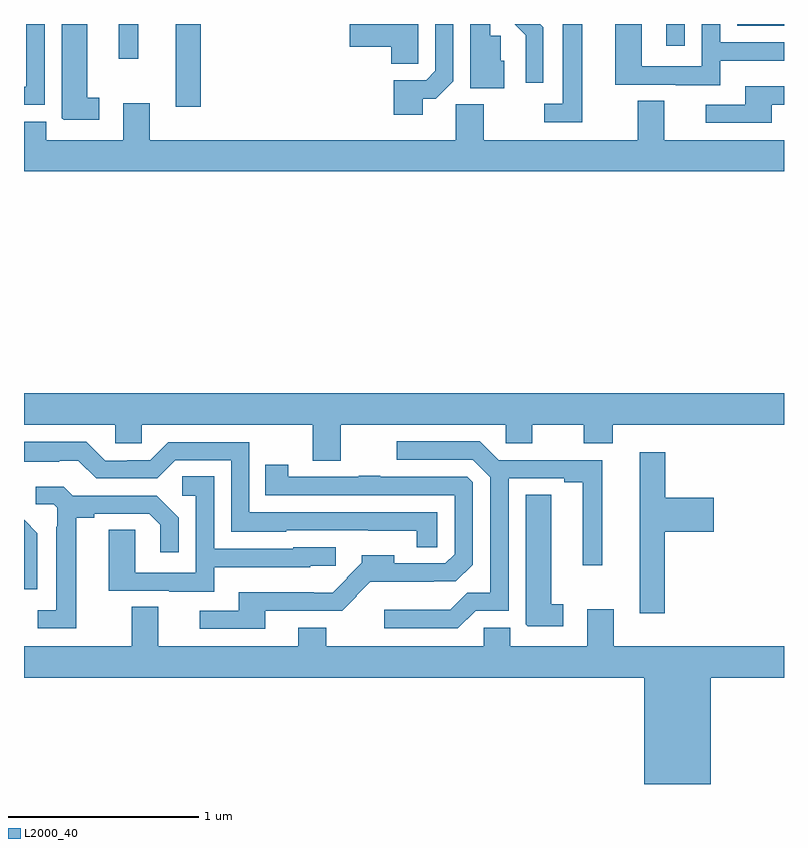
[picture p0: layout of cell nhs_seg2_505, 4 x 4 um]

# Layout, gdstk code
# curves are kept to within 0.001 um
import gdstk
lib = gdstk.Library(unit=1e-6, precision=1e-09)
def R(c, l, rs):  # rectangles x0, y0, x1, y1
    for r in rs: c.add(gdstk.rectangle(r[:2], r[2:], *l))
def P(c, l, *ps):  # polygons
    for p in ps: c.add(gdstk.Polygon(p, *l))
L2000_40 = (2000, 40)

nhs_seg2_505 = lib.new_cell('nhs_seg2_505')
R(nhs_seg2_505, L2000_40, [(137.798,593.364,137.93,593.8), (137.498,593.616,137.602,593.8), (140.381,593.685,140.478,593.8), (140.754,593.792,141,593.8)])
P(nhs_seg2_505, L2000_40, [(137.109,593.8),(137.013,593.8),(137.013,593.471),(137,593.471),(137,593.376),(137.109,593.376)],
  [(140.665,593.606),(141,593.606),(141,593.703),(140.664,593.703),(140.664,593.8),(140.568,593.8),(140.568,593.577),(140.25,593.577),(140.25,593.8),(140.111,593.8),(140.111,593.481),(140.429,593.481),(140.429,593.477),(140.665,593.477)],
  [(139.939,593.8),(139.835,593.8),(139.835,593.379),(139.737,593.379),(139.737,593.283),(139.939,593.283)],
  [(139.074,593.698),(139.075,593.698),(139.075,593.8),(138.714,593.8),(138.714,593.681),(138.932,593.681),(138.932,593.59),(139.074,593.59)],
  [(139.528,593.607),(139.509,593.607),(139.509,593.739),(139.453,593.739),(139.453,593.8),(139.349,593.8),(139.349,593.462),(139.528,593.462)],
  [(137.395,593.411),(137.332,593.411),(137.332,593.8),(137.198,593.8),(137.198,593.305),(137.208,593.295),(137.395,593.295)],
  [(139.099,593.407),(139.167,593.407),(139.26,593.499),(139.26,593.8),(139.164,593.8),(139.164,593.553),(139.116,593.505),(138.947,593.505),(138.947,593.322),(139.099,593.322)],
  [(139.734,593.784),(139.718,593.8),(139.582,593.8),(139.64,593.742),(139.64,593.49),(139.734,593.49)],
  [(140.935,593.376),(141,593.376),(141,593.473),(140.795,593.473),(140.795,593.376),(140.589,593.376),(140.589,593.28),(140.935,593.28)],
  [(141,593.188),(140.371,593.188),(140.371,593.396),(140.231,593.396),(140.231,593.188),(139.419,593.188),(139.419,593.377),(139.272,593.377),(139.272,593.188),(137.662,593.188),(137.662,593.383),(137.522,593.383),(137.522,593.188),(137.116,593.188),(137.116,593.286),(137,593.286),(137,593.024),(141,593.024)],
  [(138.667,591.692),(139.536,591.692),(139.536,591.594),(139.675,591.594),(139.675,591.692),(139.946,591.692),(139.946,591.593),(140.099,591.593),(140.099,591.692),(141,591.692),(141,591.856),(137,591.856),(137,591.692),(137.481,591.692),(137.481,591.594),(137.619,591.594),(137.619,591.692),(138.52,591.692),(138.52,591.502),(138.667,591.502)],
  [(139.377,590.712),(139.551,590.712),(139.551,591.408),(139.844,591.408),(139.844,591.388),(139.94,591.388),(139.94,590.952),(140.044,590.952),(140.044,591.504),(139.498,591.504),(139.399,591.603),(138.963,591.603),(138.963,591.507),(139.362,591.507),(139.455,591.414),(139.455,590.807),(139.334,590.807),(139.243,590.716),(138.897,590.716),(138.897,590.619),(139.284,590.619)],
  [(139.176,591.231),(138.186,591.231),(138.186,591.6),(137.76,591.6),(137.664,591.504),(137.544,591.504),(137.544,591.501),(137.427,591.501),(137.327,591.601),(137,591.601),(137,591.497),(137.186,591.497),(137.186,591.501),(137.286,591.501),(137.379,591.408),(137.7,591.408),(137.796,591.504),(138.09,591.504),(138.09,591.128),(138.381,591.128),(138.381,591.135),(139.068,591.134),(139.068,591.046),(139.176,591.046)],
  [(140.372,591.128),(140.629,591.128),(140.629,591.306),(140.375,591.306),(140.375,591.547),(140.24,591.547),(140.24,590.7),(140.372,590.7)],
  [(138.271,590.712),(138.675,590.712),(138.751,590.789),(138.749,590.791),(138.823,590.865),(139.157,590.864),(139.157,590.866),(139.273,590.866),(139.362,590.955),(139.362,591.387),(139.332,591.417),(138.875,591.417),(138.875,591.422),(138.763,591.422),(138.763,591.417),(138.39,591.417),(138.39,591.481),(138.271,591.481),(138.271,591.321),(139.266,591.321),(139.266,591.009),(139.218,590.961),(138.949,590.961),(138.949,591.004),(138.778,591.004),(138.778,590.965),(138.699,590.886),(138.702,590.883),(138.626,590.807),(138.524,590.807),(138.524,590.809),(138.131,590.809),(138.131,590.712),(137.925,590.712),(137.925,590.616),(138.271,590.616)],
  [(138.001,590.942),(138.507,590.942),(138.507,590.949),(138.642,590.949),(138.642,591.045),(138.417,591.045),(138.417,591.039),(138,591.039),(138,591.419),(137.832,591.419),(137.832,591.318),(137.904,591.318),(137.904,590.913),(137.586,590.913),(137.586,591.137),(137.447,591.137),(137.447,590.817),(137.765,590.817),(137.765,590.813),(138.001,590.813)],
  [(137.275,591.202),(137.371,591.202),(137.371,591.222),(137.66,591.222),(137.717,591.165),(137.717,591.021),(137.814,591.021),(137.814,591.202),(137.698,591.318),(137.256,591.318),(137.208,591.365),(137.062,591.365),(137.062,591.273),(137.157,591.273),(137.175,591.255),(137.175,591.155),(137.171,591.155),(137.171,590.715),(137.073,590.715),(137.073,590.619),(137.275,590.619)],
  [(139.837,590.747),(139.774,590.747),(139.774,591.323),(139.64,591.323),(139.64,590.641),(139.65,590.631),(139.837,590.631)],
  [(137.07,591.12),(137,591.19),(137,590.826),(137.07,590.826)],
  [(140.614,590.36),(141,590.36),(141,590.524),(140.104,590.524),(140.104,590.719),(139.964,590.719),(139.964,590.524),(139.558,590.524),(139.558,590.622),(139.419,590.622),(139.419,590.524),(138.591,590.524),(138.591,590.623),(138.443,590.623),(138.443,590.524),(137.707,590.524),(137.707,590.732),(137.567,590.732),(137.567,590.524),(137,590.524),(137,590.36),(140.264,590.36),(140.264,589.8),(140.614,589.8)])

lib.write_gds('nhs_seg2_505.gds')
